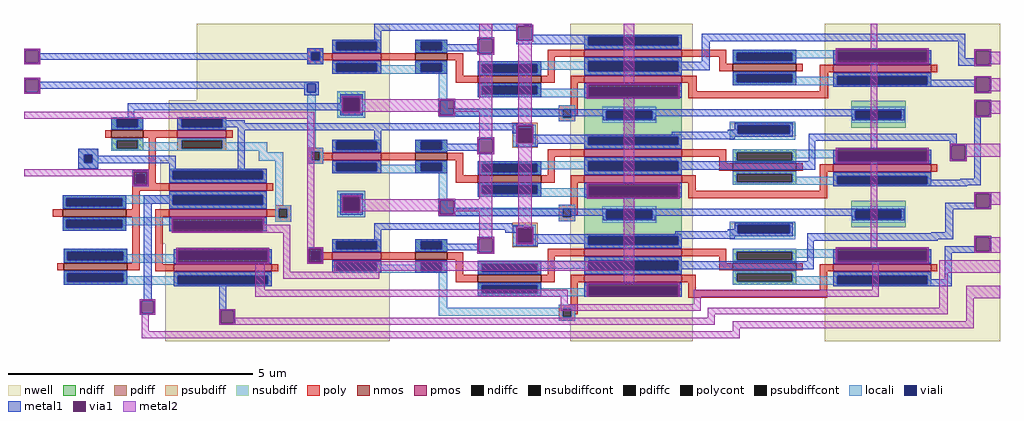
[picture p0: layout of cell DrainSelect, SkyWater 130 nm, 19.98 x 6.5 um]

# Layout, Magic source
magic
tech sky130A
<< nwell >>
rect -1645 493 -1250 650
rect -1703 371 -1250 493
rect -1720 200 -1250 371
rect -1710 0 -1250 200
rect -881 0 -630 650
rect -360 0 -1 650
<< nmos >>
rect -1198 575 -1133 590
rect -548 553 -418 568
rect -1070 529 -940 544
rect -1820 417 -1755 432
rect -1198 371 -1133 386
rect -548 349 -418 364
rect -1070 325 -940 340
rect -1920 255 -1790 270
rect -1918 145 -1788 160
rect -1198 167 -1133 182
rect -548 145 -418 160
rect -1070 121 -940 136
<< pmos >>
rect -1368 575 -1268 590
rect -852 582 -652 597
rect -852 529 -652 544
rect -342 551 -142 566
rect -1685 417 -1585 432
rect -1368 371 -1268 386
rect -852 378 -652 393
rect -852 325 -652 340
rect -1702 308 -1502 323
rect -1702 255 -1502 270
rect -342 347 -142 362
rect -1368 167 -1268 182
rect -1692 143 -1492 158
rect -852 174 -652 189
rect -852 121 -652 136
rect -342 143 -142 158
<< ndiff >>
rect -1198 613 -1133 617
rect -1198 596 -1187 613
rect -1144 596 -1133 613
rect -1198 590 -1133 596
rect -1198 569 -1133 575
rect -1198 552 -1187 569
rect -1144 552 -1133 569
rect -1198 548 -1133 552
rect -1070 567 -940 573
rect -1070 550 -1062 567
rect -948 550 -940 567
rect -1070 544 -940 550
rect -548 591 -418 597
rect -548 574 -540 591
rect -426 574 -418 591
rect -548 568 -418 574
rect -548 547 -418 553
rect -1070 523 -940 529
rect -1070 506 -1062 523
rect -948 506 -940 523
rect -1070 500 -940 506
rect -1820 455 -1755 459
rect -1820 438 -1809 455
rect -1766 438 -1755 455
rect -1820 432 -1755 438
rect -548 530 -540 547
rect -426 530 -418 547
rect -548 524 -418 530
rect -1820 411 -1755 417
rect -1820 394 -1809 411
rect -1766 394 -1755 411
rect -1820 390 -1755 394
rect -1198 409 -1133 413
rect -1198 392 -1187 409
rect -1144 392 -1133 409
rect -1198 386 -1133 392
rect -1198 365 -1133 371
rect -1198 348 -1187 365
rect -1144 348 -1133 365
rect -1198 344 -1133 348
rect -1070 363 -940 369
rect -1070 346 -1062 363
rect -948 346 -940 363
rect -1070 340 -940 346
rect -548 387 -418 393
rect -548 370 -540 387
rect -426 370 -418 387
rect -548 364 -418 370
rect -548 343 -418 349
rect -1070 319 -940 325
rect -1920 293 -1790 299
rect -1920 276 -1912 293
rect -1798 276 -1790 293
rect -1920 270 -1790 276
rect -1070 302 -1062 319
rect -948 302 -940 319
rect -1070 296 -940 302
rect -1920 249 -1790 255
rect -1920 232 -1912 249
rect -1798 232 -1790 249
rect -1920 226 -1790 232
rect -1918 183 -1788 189
rect -1918 166 -1910 183
rect -1796 166 -1788 183
rect -1918 160 -1788 166
rect -548 326 -540 343
rect -426 326 -418 343
rect -548 320 -418 326
rect -1198 205 -1133 209
rect -1198 188 -1187 205
rect -1144 188 -1133 205
rect -1198 182 -1133 188
rect -1918 139 -1788 145
rect -1918 122 -1910 139
rect -1796 122 -1788 139
rect -1918 116 -1788 122
rect -1198 161 -1133 167
rect -1198 144 -1187 161
rect -1144 144 -1133 161
rect -1198 140 -1133 144
rect -1070 159 -940 165
rect -1070 142 -1062 159
rect -948 142 -940 159
rect -1070 136 -940 142
rect -548 183 -418 189
rect -548 166 -540 183
rect -426 166 -418 183
rect -548 160 -418 166
rect -548 139 -418 145
rect -1070 115 -940 121
rect -1070 98 -1062 115
rect -948 98 -940 115
rect -1070 92 -940 98
rect -548 122 -540 139
rect -426 122 -418 139
rect -548 116 -418 122
<< pdiff >>
rect -852 623 -652 627
rect -1368 613 -1268 617
rect -1368 596 -1360 613
rect -1277 596 -1268 613
rect -1368 590 -1268 596
rect -852 606 -844 623
rect -660 606 -652 623
rect -852 597 -652 606
rect -1368 569 -1268 575
rect -1368 552 -1360 569
rect -1277 552 -1268 569
rect -1368 548 -1268 552
rect -852 573 -652 582
rect -852 553 -844 573
rect -660 553 -652 573
rect -342 592 -142 596
rect -342 575 -334 592
rect -150 575 -142 592
rect -342 566 -142 575
rect -852 544 -652 553
rect -1685 455 -1585 459
rect -852 520 -652 529
rect -852 503 -844 520
rect -660 503 -652 520
rect -852 499 -652 503
rect -342 542 -142 551
rect -342 525 -334 542
rect -150 525 -142 542
rect -342 521 -142 525
rect -1685 438 -1676 455
rect -1593 438 -1585 455
rect -1685 432 -1585 438
rect -1685 411 -1585 417
rect -1685 394 -1676 411
rect -1593 394 -1585 411
rect -1368 409 -1268 413
rect -1685 390 -1585 394
rect -1368 392 -1360 409
rect -1277 392 -1268 409
rect -1368 386 -1268 392
rect -852 419 -652 423
rect -852 402 -844 419
rect -660 402 -652 419
rect -852 393 -652 402
rect -1368 365 -1268 371
rect -1702 349 -1502 353
rect -1702 332 -1694 349
rect -1510 332 -1502 349
rect -1368 348 -1360 365
rect -1277 348 -1268 365
rect -1368 344 -1268 348
rect -1702 323 -1502 332
rect -852 369 -652 378
rect -852 349 -844 369
rect -660 349 -652 369
rect -342 388 -142 392
rect -342 371 -334 388
rect -150 371 -142 388
rect -342 362 -142 371
rect -852 340 -652 349
rect -1702 299 -1502 308
rect -1702 279 -1694 299
rect -1510 279 -1502 299
rect -1702 270 -1502 279
rect -1702 246 -1502 255
rect -1702 229 -1694 246
rect -1510 229 -1502 246
rect -852 316 -652 325
rect -852 299 -844 316
rect -660 299 -652 316
rect -852 295 -652 299
rect -342 338 -142 347
rect -342 321 -334 338
rect -150 321 -142 338
rect -342 317 -142 321
rect -1702 225 -1502 229
rect -1368 205 -1268 209
rect -1692 184 -1492 188
rect -1692 167 -1684 184
rect -1500 167 -1492 184
rect -1692 158 -1492 167
rect -1368 188 -1360 205
rect -1277 188 -1268 205
rect -1368 182 -1268 188
rect -852 215 -652 219
rect -852 198 -844 215
rect -660 198 -652 215
rect -852 189 -652 198
rect -1368 161 -1268 167
rect -1368 144 -1360 161
rect -1277 144 -1268 161
rect -1692 134 -1492 143
rect -1368 140 -1268 144
rect -1692 117 -1684 134
rect -1500 117 -1492 134
rect -852 165 -652 174
rect -852 145 -844 165
rect -660 145 -652 165
rect -342 184 -142 188
rect -342 167 -334 184
rect -150 167 -142 184
rect -342 158 -142 167
rect -852 136 -652 145
rect -1692 113 -1492 117
rect -852 112 -652 121
rect -852 95 -844 112
rect -660 95 -652 112
rect -852 91 -652 95
rect -342 134 -142 143
rect -342 117 -334 134
rect -150 117 -142 134
rect -342 113 -142 117
<< ndiffc >>
rect -1187 596 -1144 613
rect -1187 552 -1144 569
rect -1062 550 -948 567
rect -540 574 -426 591
rect -1062 506 -948 523
rect -1809 438 -1766 455
rect -540 530 -426 547
rect -1809 394 -1766 411
rect -1187 392 -1144 409
rect -1187 348 -1144 365
rect -1062 346 -948 363
rect -540 370 -426 387
rect -1912 276 -1798 293
rect -1062 302 -948 319
rect -1912 232 -1798 249
rect -1910 166 -1796 183
rect -540 326 -426 343
rect -1187 188 -1144 205
rect -1910 122 -1796 139
rect -1187 144 -1144 161
rect -1062 142 -948 159
rect -540 166 -426 183
rect -1062 98 -948 115
rect -540 122 -426 139
<< pdiffc >>
rect -1360 596 -1277 613
rect -844 606 -660 623
rect -1360 552 -1277 569
rect -844 553 -660 573
rect -334 575 -150 592
rect -844 503 -660 520
rect -334 525 -150 542
rect -1676 438 -1593 455
rect -1676 394 -1593 411
rect -1360 392 -1277 409
rect -844 402 -660 419
rect -1694 332 -1510 349
rect -1360 348 -1277 365
rect -844 349 -660 369
rect -334 371 -150 388
rect -1694 279 -1510 299
rect -1694 229 -1510 246
rect -844 299 -660 316
rect -334 321 -150 338
rect -1684 167 -1500 184
rect -1360 188 -1277 205
rect -844 198 -660 215
rect -1360 144 -1277 161
rect -1684 117 -1500 134
rect -844 145 -660 165
rect -334 167 -150 184
rect -844 95 -660 112
rect -334 117 -150 134
<< psubdiff >>
rect -1000 435 -947 447
rect -1888 382 -1847 394
rect -1888 365 -1876 382
rect -1859 365 -1847 382
rect -1888 353 -1847 365
rect -1000 406 -988 435
rect -959 406 -947 435
rect -1000 396 -947 406
rect -554 442 -419 446
rect -554 425 -538 442
rect -431 425 -419 442
rect -554 420 -419 425
rect -1000 231 -947 243
rect -1000 202 -988 231
rect -959 202 -947 231
rect -1000 192 -947 202
rect -554 238 -419 242
rect -554 221 -538 238
rect -431 221 -419 238
rect -554 216 -419 221
<< nsubdiff >>
rect -1358 500 -1300 512
rect -1358 470 -1346 500
rect -1312 470 -1300 500
rect -1358 458 -1300 470
rect -852 472 -652 499
rect -852 455 -807 472
rect -713 455 -652 472
rect -852 423 -652 455
rect -305 472 -194 492
rect -305 455 -297 472
rect -203 455 -194 472
rect -305 437 -194 455
rect -1358 296 -1300 308
rect -1358 266 -1346 296
rect -1312 266 -1300 296
rect -1358 254 -1300 266
rect -852 268 -652 295
rect -852 251 -807 268
rect -713 251 -652 268
rect -852 219 -652 251
rect -305 268 -194 288
rect -305 251 -297 268
rect -203 251 -194 268
rect -305 233 -194 251
<< psubdiffcont >>
rect -1876 365 -1859 382
rect -988 406 -959 435
rect -538 425 -431 442
rect -988 202 -959 231
rect -538 221 -431 238
<< nsubdiffcont >>
rect -1346 470 -1312 500
rect -807 455 -713 472
rect -297 455 -203 472
rect -1346 266 -1312 296
rect -807 251 -713 268
rect -297 251 -203 268
<< poly >>
rect -1419 592 -1386 600
rect -1419 575 -1411 592
rect -1394 590 -1386 592
rect -1394 575 -1368 590
rect -1268 575 -1198 590
rect -1133 575 -1100 590
rect -1419 567 -1386 575
rect -1115 544 -1100 575
rect -927 582 -852 597
rect -652 582 -561 597
rect -927 544 -912 582
rect -576 568 -561 582
rect -576 553 -548 568
rect -418 553 -405 568
rect -1115 529 -1070 544
rect -940 529 -912 544
rect -880 529 -852 544
rect -652 529 -622 544
rect -880 483 -865 529
rect -904 475 -865 483
rect -904 458 -896 475
rect -879 463 -865 475
rect -639 512 -622 529
rect -370 551 -342 566
rect -142 551 -129 566
rect -370 512 -353 551
rect -639 497 -353 512
rect -879 458 -871 463
rect -904 450 -871 458
rect -1833 417 -1820 432
rect -1755 417 -1685 432
rect -1585 417 -1572 432
rect -1744 350 -1729 417
rect -1419 388 -1386 396
rect -1419 371 -1411 388
rect -1394 386 -1386 388
rect -1394 371 -1368 386
rect -1268 371 -1198 386
rect -1133 371 -1100 386
rect -1419 363 -1386 371
rect -1777 342 -1729 350
rect -1777 325 -1769 342
rect -1752 325 -1729 342
rect -1777 323 -1729 325
rect -1115 340 -1100 371
rect -927 378 -852 393
rect -652 378 -561 393
rect -927 340 -912 378
rect -576 364 -561 378
rect -576 349 -548 364
rect -418 349 -405 364
rect -1115 325 -1070 340
rect -940 325 -912 340
rect -880 325 -852 340
rect -652 325 -624 340
rect -1777 308 -1702 323
rect -1502 308 -1489 323
rect -1777 270 -1762 308
rect -1485 271 -1452 278
rect -1485 270 -1477 271
rect -1940 255 -1920 270
rect -1790 255 -1762 270
rect -1777 160 -1762 255
rect -1931 145 -1918 160
rect -1788 145 -1762 160
rect -1730 255 -1702 270
rect -1502 255 -1477 270
rect -1730 158 -1715 255
rect -1485 253 -1477 255
rect -1460 253 -1452 271
rect -880 279 -865 325
rect -904 271 -865 279
rect -904 254 -896 271
rect -879 259 -865 271
rect -639 308 -624 325
rect -370 347 -342 362
rect -142 347 -129 362
rect -370 308 -355 347
rect -639 293 -355 308
rect -879 254 -871 259
rect -1485 245 -1452 253
rect -904 246 -871 254
rect -1419 184 -1386 192
rect -1419 167 -1411 184
rect -1394 182 -1386 184
rect -1394 167 -1368 182
rect -1268 167 -1198 182
rect -1133 167 -1100 182
rect -1419 159 -1386 167
rect -1730 143 -1692 158
rect -1492 143 -1479 158
rect -1115 136 -1100 167
rect -927 174 -852 189
rect -652 174 -561 189
rect -927 136 -912 174
rect -576 160 -561 174
rect -576 145 -548 160
rect -418 145 -405 160
rect -1115 121 -1070 136
rect -940 121 -912 136
rect -880 121 -852 136
rect -652 121 -624 136
rect -880 75 -865 121
rect -639 104 -624 121
rect -370 143 -342 158
rect -142 143 -129 158
rect -370 104 -355 143
rect -639 89 -355 104
rect -904 67 -865 75
rect -904 50 -896 67
rect -879 55 -865 67
rect -879 50 -871 55
rect -904 42 -871 50
<< polycont >>
rect -1411 575 -1394 592
rect -896 458 -879 475
rect -1411 371 -1394 388
rect -1769 325 -1752 342
rect -1477 253 -1460 271
rect -896 254 -879 271
rect -1411 167 -1394 184
rect -896 50 -879 67
<< locali >>
rect -852 623 -652 627
rect -1368 613 -1268 617
rect -1419 592 -1386 600
rect -1419 575 -1411 592
rect -1394 575 -1386 592
rect -1368 596 -1360 613
rect -1277 596 -1268 613
rect -1368 591 -1268 596
rect -1198 613 -1133 617
rect -1198 596 -1187 613
rect -1144 596 -1133 613
rect -852 606 -844 623
rect -660 606 -652 623
rect -852 598 -652 606
rect -1198 591 -1133 596
rect -548 596 -418 597
rect -548 592 -142 596
rect -548 591 -334 592
rect -1419 567 -1386 575
rect -1368 569 -1268 574
rect -1368 552 -1360 569
rect -1277 565 -1268 569
rect -1198 569 -1133 574
rect -852 573 -652 581
rect -1198 565 -1187 569
rect -1277 552 -1187 565
rect -1144 552 -1133 569
rect -1368 548 -1133 552
rect -1425 527 -1396 531
rect -1425 510 -1419 527
rect -1402 510 -1396 527
rect -1425 504 -1396 510
rect -1820 455 -1755 459
rect -1820 438 -1809 455
rect -1766 438 -1755 455
rect -1820 433 -1755 438
rect -1685 455 -1585 459
rect -1685 438 -1676 455
rect -1593 438 -1585 455
rect -1685 433 -1585 438
rect -1820 411 -1755 416
rect -1820 394 -1809 411
rect -1766 407 -1755 411
rect -1685 411 -1585 416
rect -1685 407 -1676 411
rect -1766 394 -1676 407
rect -1593 407 -1585 411
rect -1593 394 -1501 407
rect -1888 382 -1847 394
rect -1820 390 -1501 394
rect -1888 365 -1876 382
rect -1859 365 -1847 382
rect -1518 387 -1501 390
rect -1419 396 -1402 504
rect -1358 500 -1300 512
rect -1358 470 -1346 500
rect -1312 470 -1300 500
rect -1358 458 -1300 470
rect -1150 477 -1133 548
rect -1070 567 -844 573
rect -1070 550 -1062 567
rect -948 556 -844 567
rect -948 550 -940 556
rect -1070 545 -940 550
rect -852 553 -844 556
rect -660 553 -652 573
rect -548 574 -540 591
rect -426 579 -334 591
rect -426 574 -418 579
rect -548 569 -418 574
rect -342 575 -334 579
rect -150 575 -142 592
rect -342 567 -142 575
rect -852 545 -652 553
rect -548 547 -418 552
rect -548 530 -540 547
rect -426 541 -418 547
rect -342 542 -142 550
rect -342 541 -334 542
rect -426 530 -334 541
rect -1070 523 -940 528
rect -1070 506 -1062 523
rect -948 517 -940 523
rect -852 520 -652 528
rect -548 525 -334 530
rect -150 525 -142 542
rect -548 524 -142 525
rect -342 521 -142 524
rect -852 517 -844 520
rect -948 506 -844 517
rect -1070 503 -844 506
rect -660 503 -652 520
rect -1070 500 -652 503
rect -852 499 -652 500
rect -904 477 -871 483
rect -1150 475 -871 477
rect -1150 460 -896 475
rect -904 458 -896 460
rect -879 458 -871 475
rect -904 450 -871 458
rect -815 472 -705 480
rect -815 455 -807 472
rect -713 455 -705 472
rect -815 447 -705 455
rect -305 472 -195 480
rect -305 455 -297 472
rect -203 455 -195 472
rect -997 435 -951 443
rect -1368 409 -1268 413
rect -1419 388 -1386 396
rect -1518 370 -1468 387
rect -1888 353 -1847 365
rect -1777 342 -1744 350
rect -1777 325 -1769 342
rect -1752 325 -1744 342
rect -1777 317 -1744 325
rect -1702 349 -1502 353
rect -1702 332 -1694 349
rect -1510 332 -1502 349
rect -1702 324 -1502 332
rect -1702 299 -1502 307
rect -1920 293 -1694 299
rect -1920 276 -1912 293
rect -1798 282 -1694 293
rect -1798 276 -1790 282
rect -1920 271 -1790 276
rect -1702 279 -1694 282
rect -1510 279 -1502 299
rect -1702 271 -1502 279
rect -1485 278 -1468 370
rect -1419 371 -1411 388
rect -1394 371 -1386 388
rect -1368 392 -1360 409
rect -1277 392 -1268 409
rect -1368 387 -1268 392
rect -1198 409 -1133 413
rect -1198 392 -1187 409
rect -1144 392 -1133 409
rect -997 406 -988 435
rect -959 406 -951 435
rect -554 442 -420 449
rect -305 447 -195 455
rect -554 425 -538 442
rect -431 425 -420 442
rect -997 398 -951 406
rect -852 419 -652 423
rect -852 402 -844 419
rect -660 402 -652 419
rect -554 413 -420 425
rect -852 394 -652 402
rect -1198 387 -1133 392
rect -548 392 -418 393
rect -548 388 -142 392
rect -548 387 -334 388
rect -1419 363 -1386 371
rect -1368 365 -1268 370
rect -1368 348 -1360 365
rect -1277 361 -1268 365
rect -1198 365 -1133 370
rect -852 369 -652 377
rect -1198 361 -1187 365
rect -1277 348 -1187 361
rect -1144 348 -1133 365
rect -1368 344 -1133 348
rect -1358 296 -1300 308
rect -1485 271 -1452 278
rect -1920 249 -1502 254
rect -1920 232 -1912 249
rect -1798 246 -1502 249
rect -1798 237 -1694 246
rect -1798 232 -1790 237
rect -1920 226 -1790 232
rect -1702 229 -1694 237
rect -1510 229 -1502 246
rect -1485 253 -1477 271
rect -1460 253 -1452 271
rect -1358 266 -1346 296
rect -1312 266 -1300 296
rect -1358 254 -1300 266
rect -1150 273 -1133 344
rect -1070 363 -844 369
rect -1070 346 -1062 363
rect -948 352 -844 363
rect -948 346 -940 352
rect -1070 341 -940 346
rect -852 349 -844 352
rect -660 349 -652 369
rect -548 370 -540 387
rect -426 375 -334 387
rect -426 370 -418 375
rect -548 365 -418 370
rect -342 371 -334 375
rect -150 371 -142 388
rect -342 363 -142 371
rect -852 341 -652 349
rect -548 343 -418 348
rect -548 326 -540 343
rect -426 337 -418 343
rect -342 338 -142 346
rect -342 337 -334 338
rect -426 326 -334 337
rect -1070 319 -940 324
rect -1070 302 -1062 319
rect -948 313 -940 319
rect -852 316 -652 324
rect -548 321 -334 326
rect -150 321 -142 338
rect -548 320 -142 321
rect -342 317 -142 320
rect -852 313 -844 316
rect -948 302 -844 313
rect -1070 299 -844 302
rect -660 299 -652 316
rect -1070 296 -652 299
rect -852 295 -652 296
rect -904 273 -871 279
rect -1150 271 -871 273
rect -1150 256 -896 271
rect -904 254 -896 256
rect -879 254 -871 271
rect -1485 245 -1452 253
rect -904 246 -871 254
rect -815 268 -705 276
rect -815 251 -807 268
rect -713 251 -705 268
rect -815 243 -705 251
rect -305 268 -195 276
rect -305 251 -297 268
rect -203 251 -195 268
rect -1702 225 -1502 229
rect -997 231 -951 239
rect -1368 205 -1268 209
rect -1918 183 -1788 189
rect -1918 166 -1910 183
rect -1796 178 -1788 183
rect -1692 184 -1492 188
rect -1692 178 -1684 184
rect -1796 167 -1684 178
rect -1500 167 -1492 184
rect -1796 166 -1492 167
rect -1918 161 -1492 166
rect -1692 159 -1492 161
rect -1419 184 -1386 192
rect -1419 167 -1411 184
rect -1394 167 -1386 184
rect -1368 188 -1360 205
rect -1277 188 -1268 205
rect -1368 183 -1268 188
rect -1198 205 -1133 209
rect -1198 188 -1187 205
rect -1144 188 -1133 205
rect -997 202 -988 231
rect -959 202 -951 231
rect -554 238 -420 245
rect -305 243 -195 251
rect -554 221 -538 238
rect -431 221 -420 238
rect -997 194 -951 202
rect -852 215 -652 219
rect -852 198 -844 215
rect -660 198 -652 215
rect -554 209 -420 221
rect -852 190 -652 198
rect -1198 183 -1133 188
rect -548 188 -418 189
rect -548 184 -142 188
rect -548 183 -334 184
rect -1419 159 -1386 167
rect -1368 161 -1268 166
rect -1368 144 -1360 161
rect -1277 157 -1268 161
rect -1198 161 -1133 166
rect -852 165 -652 173
rect -1198 157 -1187 161
rect -1277 144 -1187 157
rect -1144 144 -1133 161
rect -1918 139 -1788 144
rect -1918 122 -1910 139
rect -1796 133 -1788 139
rect -1692 134 -1492 142
rect -1368 140 -1133 144
rect -1692 133 -1684 134
rect -1796 122 -1684 133
rect -1918 117 -1684 122
rect -1500 117 -1492 134
rect -1918 116 -1492 117
rect -1692 113 -1492 116
rect -1150 69 -1133 140
rect -1070 159 -844 165
rect -1070 142 -1062 159
rect -948 148 -844 159
rect -948 142 -940 148
rect -1070 137 -940 142
rect -852 145 -844 148
rect -660 145 -652 165
rect -548 166 -540 183
rect -426 171 -334 183
rect -426 166 -418 171
rect -548 161 -418 166
rect -342 167 -334 171
rect -150 167 -142 184
rect -342 159 -142 167
rect -852 137 -652 145
rect -548 139 -418 144
rect -548 122 -540 139
rect -426 133 -418 139
rect -342 134 -142 142
rect -342 133 -334 134
rect -426 122 -334 133
rect -1070 115 -940 120
rect -1070 98 -1062 115
rect -948 109 -940 115
rect -852 112 -652 120
rect -548 117 -334 122
rect -150 117 -142 134
rect -548 116 -142 117
rect -342 113 -142 116
rect -852 109 -844 112
rect -948 98 -844 109
rect -1070 95 -844 98
rect -660 95 -652 112
rect -1070 92 -652 95
rect -852 91 -652 92
rect -904 69 -871 75
rect -1150 67 -871 69
rect -1150 52 -896 67
rect -904 50 -896 52
rect -879 50 -871 67
rect -904 42 -871 50
<< viali >>
rect -1411 575 -1394 592
rect -1360 596 -1277 613
rect -1187 596 -1144 613
rect -844 606 -660 623
rect -1360 552 -1277 569
rect -1187 552 -1144 569
rect -1419 510 -1402 527
rect -1809 438 -1766 455
rect -1676 438 -1593 455
rect -1876 365 -1859 382
rect -1346 470 -1312 500
rect -1062 550 -948 567
rect -844 553 -660 573
rect -540 574 -426 591
rect -334 575 -150 592
rect -540 530 -426 547
rect -1062 506 -948 523
rect -334 525 -150 542
rect -844 503 -660 520
rect -807 455 -713 472
rect -297 455 -203 472
rect -1769 325 -1752 342
rect -1694 332 -1510 349
rect -1912 276 -1798 293
rect -1694 279 -1510 299
rect -1360 392 -1277 409
rect -1187 392 -1144 409
rect -538 425 -431 442
rect -844 402 -660 419
rect -1360 348 -1277 365
rect -1187 348 -1144 365
rect -1912 232 -1798 249
rect -1694 229 -1510 246
rect -1346 266 -1312 296
rect -1062 346 -948 363
rect -844 349 -660 369
rect -334 371 -150 388
rect -1062 302 -948 319
rect -334 321 -150 338
rect -844 299 -660 316
rect -807 251 -713 268
rect -297 251 -203 268
rect -1910 166 -1796 183
rect -1684 167 -1500 184
rect -1411 167 -1394 184
rect -1360 188 -1277 205
rect -1187 188 -1144 205
rect -538 221 -431 238
rect -844 198 -660 215
rect -1360 144 -1277 161
rect -1187 144 -1144 161
rect -1910 122 -1796 139
rect -1684 117 -1500 134
rect -1062 142 -948 159
rect -844 145 -660 165
rect -334 167 -150 184
rect -1062 98 -948 115
rect -334 117 -150 134
rect -844 95 -660 112
<< metal1 >>
rect -1282 648 -977 650
rect -1282 645 -956 648
rect -1282 636 -988 645
rect -1282 617 -1268 636
rect -1071 619 -1036 622
rect -1368 613 -1268 617
rect -1999 596 -1966 599
rect -1999 570 -1996 596
rect -1969 590 -1966 596
rect -1419 592 -1386 600
rect -1419 590 -1411 592
rect -1969 576 -1411 590
rect -1969 570 -1966 576
rect -1999 567 -1966 570
rect -1419 575 -1411 576
rect -1394 575 -1386 592
rect -1368 596 -1360 613
rect -1277 596 -1268 613
rect -1368 591 -1268 596
rect -1198 613 -1133 617
rect -1198 596 -1187 613
rect -1144 608 -1133 613
rect -1071 608 -1068 619
rect -1144 596 -1068 608
rect -1198 594 -1068 596
rect -1198 591 -1133 594
rect -1071 590 -1068 594
rect -1039 590 -1036 619
rect -991 616 -988 636
rect -959 627 -956 645
rect -959 623 -652 627
rect -959 616 -844 623
rect -991 608 -844 616
rect -852 606 -844 608
rect -660 606 -652 623
rect -852 598 -652 606
rect -612 614 -72 629
rect -1071 587 -1036 590
rect -1419 567 -1386 575
rect -1368 569 -1268 574
rect -1368 552 -1360 569
rect -1277 552 -1268 569
rect -1368 548 -1268 552
rect -1198 569 -1133 574
rect -852 573 -652 581
rect -1198 552 -1187 569
rect -1144 552 -1133 569
rect -1198 548 -1133 552
rect -1070 567 -940 573
rect -1070 550 -1062 567
rect -948 550 -940 567
rect -1070 545 -940 550
rect -852 553 -844 573
rect -660 572 -652 573
rect -612 572 -595 614
rect -337 597 -147 600
rect -660 555 -595 572
rect -548 591 -418 597
rect -337 596 -334 597
rect -548 574 -540 591
rect -426 574 -418 591
rect -548 569 -418 574
rect -342 571 -334 596
rect -150 596 -147 597
rect -150 571 -142 596
rect -342 567 -142 571
rect -86 579 -72 614
rect -54 595 -19 598
rect -54 579 -51 595
rect -86 566 -51 579
rect -22 566 -19 595
rect -86 564 -19 566
rect -54 563 -19 564
rect -660 553 -652 555
rect -852 545 -652 553
rect -548 547 -418 552
rect -1999 536 -1966 539
rect -1999 510 -1996 536
rect -1969 531 -1966 536
rect -1969 527 -1396 531
rect -548 530 -540 547
rect -426 530 -418 547
rect -1969 517 -1419 527
rect -1969 510 -1966 517
rect -1999 507 -1966 510
rect -1425 510 -1419 517
rect -1402 510 -1396 527
rect -1425 504 -1396 510
rect -1070 523 -940 528
rect -1070 506 -1062 523
rect -948 506 -940 523
rect -1352 500 -1306 506
rect -1070 500 -940 506
rect -852 525 -652 528
rect -1352 487 -1346 500
rect -1787 473 -1346 487
rect -1787 459 -1773 473
rect -1352 470 -1346 473
rect -1312 470 -1306 500
rect -852 499 -844 525
rect -660 499 -652 525
rect -548 524 -418 530
rect -342 542 -142 550
rect -342 525 -334 542
rect -150 535 -142 542
rect -54 540 -19 543
rect -54 535 -51 540
rect -150 525 -51 535
rect -342 521 -51 525
rect -54 511 -51 521
rect -22 511 -19 540
rect -54 508 -19 511
rect -847 496 -657 499
rect -1352 463 -1306 470
rect -1151 493 -1116 496
rect -1151 464 -1148 493
rect -1119 475 -1116 493
rect -54 491 -19 494
rect -1119 472 -197 475
rect -1119 464 -807 472
rect -1151 461 -807 464
rect -1820 455 -1755 459
rect -1820 438 -1809 455
rect -1766 438 -1755 455
rect -1820 433 -1755 438
rect -1685 455 -1585 459
rect -1685 438 -1676 455
rect -1593 452 -1585 455
rect -813 455 -807 461
rect -713 461 -297 472
rect -713 455 -707 461
rect -813 452 -707 455
rect -303 455 -297 461
rect -203 455 -197 472
rect -303 452 -197 455
rect -54 462 -51 491
rect -22 462 -19 491
rect -54 459 -19 462
rect -1593 446 -1547 452
rect -1593 444 -977 446
rect -1593 441 -956 444
rect -1593 438 -988 441
rect -1685 433 -1585 438
rect -1561 432 -988 438
rect -1888 382 -1847 394
rect -1888 365 -1876 382
rect -1859 380 -1847 382
rect -1859 365 -1688 380
rect -1888 364 -1688 365
rect -1888 353 -1847 364
rect -1702 353 -1688 364
rect -1561 353 -1547 432
rect -1282 413 -1268 432
rect -1000 426 -988 432
rect -1071 415 -1036 418
rect -1368 409 -1268 413
rect -1368 392 -1360 409
rect -1277 392 -1268 409
rect -1368 387 -1268 392
rect -1198 409 -1133 413
rect -1198 392 -1187 409
rect -1144 404 -1133 409
rect -1071 404 -1068 415
rect -1144 392 -1068 404
rect -1198 390 -1068 392
rect -1198 387 -1133 390
rect -1071 386 -1068 390
rect -1039 386 -1036 415
rect -991 406 -988 426
rect -959 423 -956 441
rect -544 442 -425 447
rect -544 433 -538 442
rect -558 429 -538 433
rect -673 425 -538 429
rect -431 425 -425 442
rect -673 423 -425 425
rect -959 419 -425 423
rect -959 406 -844 419
rect -991 404 -844 406
rect -991 398 -947 404
rect -852 402 -844 404
rect -660 414 -544 419
rect -660 402 -652 414
rect -852 394 -652 402
rect -393 410 -90 425
rect -1071 383 -1036 386
rect -1368 365 -1268 370
rect -1777 347 -1744 350
rect -1777 320 -1774 347
rect -1747 320 -1744 347
rect -1702 349 -1502 353
rect -1702 332 -1694 349
rect -1510 332 -1502 349
rect -1368 348 -1360 365
rect -1277 348 -1268 365
rect -1368 344 -1268 348
rect -1198 365 -1133 370
rect -852 369 -652 377
rect -1198 348 -1187 365
rect -1144 348 -1133 365
rect -1198 344 -1133 348
rect -1070 363 -940 369
rect -1070 346 -1062 363
rect -948 346 -940 363
rect -1070 341 -940 346
rect -852 349 -844 369
rect -660 368 -652 369
rect -393 368 -379 410
rect -104 404 -90 410
rect -104 401 -69 404
rect -337 393 -147 396
rect -337 392 -334 393
rect -660 351 -379 368
rect -342 367 -334 392
rect -150 392 -147 393
rect -150 367 -142 392
rect -104 372 -101 401
rect -72 372 -69 401
rect -104 369 -69 372
rect -342 363 -142 367
rect -660 349 -652 351
rect -852 341 -652 349
rect -1702 324 -1502 332
rect -342 338 -142 346
rect -1777 317 -1744 320
rect -1070 319 -940 324
rect -1702 299 -1502 307
rect -1070 302 -1062 319
rect -948 302 -940 319
rect -1920 293 -1790 299
rect -1920 276 -1912 293
rect -1798 276 -1790 293
rect -1920 271 -1790 276
rect -1754 282 -1694 299
rect -1920 249 -1790 254
rect -1920 232 -1912 249
rect -1798 232 -1790 249
rect -1920 226 -1790 232
rect -1918 183 -1788 189
rect -1918 166 -1910 183
rect -1796 166 -1788 183
rect -1918 161 -1788 166
rect -1918 139 -1788 144
rect -1918 122 -1910 139
rect -1796 122 -1788 139
rect -1918 116 -1788 122
rect -1754 86 -1737 282
rect -1702 279 -1694 282
rect -1510 279 -1502 299
rect -1702 271 -1502 279
rect -1352 296 -1306 302
rect -1070 296 -940 302
rect -852 321 -652 324
rect -1352 266 -1346 296
rect -1312 266 -1306 296
rect -852 295 -844 321
rect -660 295 -652 321
rect -342 321 -334 338
rect -150 331 -142 338
rect -54 333 -40 459
rect -82 331 -40 333
rect -150 321 -40 331
rect -342 319 -40 321
rect -342 317 -68 319
rect -54 302 -19 305
rect -847 292 -657 295
rect -1352 259 -1306 266
rect -1151 289 -1116 292
rect -1151 260 -1148 289
rect -1119 271 -1116 289
rect -54 284 -51 302
rect -113 273 -51 284
rect -22 273 -19 302
rect -1119 268 -197 271
rect -1119 260 -807 268
rect -1151 257 -807 260
rect -1702 251 -1502 254
rect -1702 225 -1694 251
rect -1510 225 -1502 251
rect -813 251 -807 257
rect -713 257 -297 268
rect -713 251 -707 257
rect -813 248 -707 251
rect -303 251 -297 257
rect -203 251 -197 268
rect -303 248 -197 251
rect -113 270 -19 273
rect -1282 236 -1000 242
rect -544 238 -425 243
rect -1282 234 -977 236
rect -1282 231 -956 234
rect -1282 228 -988 231
rect -1282 209 -1268 228
rect -1014 222 -988 228
rect -1071 211 -1036 214
rect -1368 205 -1268 209
rect -1419 189 -1386 192
rect -1692 162 -1684 188
rect -1500 162 -1492 188
rect -1692 159 -1492 162
rect -1419 162 -1416 189
rect -1389 162 -1386 189
rect -1368 188 -1360 205
rect -1277 188 -1268 205
rect -1368 183 -1268 188
rect -1198 205 -1133 209
rect -1198 188 -1187 205
rect -1144 200 -1133 205
rect -1071 200 -1068 211
rect -1144 188 -1068 200
rect -1198 186 -1068 188
rect -1198 183 -1133 186
rect -1071 182 -1068 186
rect -1039 182 -1036 211
rect -991 202 -988 222
rect -959 219 -956 231
rect -544 229 -538 238
rect -558 225 -538 229
rect -666 221 -538 225
rect -431 221 -425 238
rect -113 223 -97 270
rect -142 221 -97 223
rect -666 219 -425 221
rect -959 215 -425 219
rect -959 202 -844 215
rect -991 200 -844 202
rect -991 194 -947 200
rect -852 198 -844 200
rect -660 210 -544 215
rect -660 198 -652 210
rect -852 190 -652 198
rect -396 209 -97 221
rect -54 213 -19 216
rect -396 206 -128 209
rect -1071 179 -1036 182
rect -1419 159 -1386 162
rect -1368 161 -1268 166
rect -1368 144 -1360 161
rect -1277 144 -1268 161
rect -1692 134 -1492 142
rect -1368 140 -1268 144
rect -1198 161 -1133 166
rect -852 165 -652 173
rect -1198 144 -1187 161
rect -1144 144 -1133 161
rect -1198 140 -1133 144
rect -1070 159 -940 165
rect -1070 142 -1062 159
rect -948 142 -940 159
rect -1070 137 -940 142
rect -852 145 -844 165
rect -660 164 -652 165
rect -396 164 -382 206
rect -54 195 -51 213
rect -337 189 -147 192
rect -337 188 -334 189
rect -660 147 -382 164
rect -342 163 -334 188
rect -150 188 -147 189
rect -150 163 -142 188
rect -342 159 -142 163
rect -114 184 -51 195
rect -22 184 -19 213
rect -114 181 -19 184
rect -660 145 -652 147
rect -852 137 -652 145
rect -1692 117 -1684 134
rect -1500 117 -1492 134
rect -342 134 -142 142
rect -1692 113 -1492 117
rect -1070 115 -940 120
rect -1762 83 -1730 86
rect -1762 57 -1759 83
rect -1733 57 -1730 83
rect -1762 54 -1730 57
rect -1599 66 -1585 113
rect -1070 98 -1062 115
rect -948 98 -940 115
rect -1070 92 -940 98
rect -852 117 -652 120
rect -852 91 -844 117
rect -660 91 -652 117
rect -342 117 -334 134
rect -150 127 -142 134
rect -114 127 -100 181
rect -150 117 -100 127
rect -342 113 -100 117
rect -1599 63 -1567 66
rect -1599 37 -1596 63
rect -1570 37 -1567 63
rect -1599 34 -1567 37
<< via1 >>
rect -1996 570 -1969 596
rect -1068 590 -1039 619
rect -988 616 -959 645
rect -334 592 -150 597
rect -334 575 -150 592
rect -334 571 -150 575
rect -51 566 -22 595
rect -1996 510 -1969 536
rect -1346 470 -1312 500
rect -844 520 -660 525
rect -844 503 -660 520
rect -844 499 -660 503
rect -51 511 -22 540
rect -1148 464 -1119 493
rect -51 462 -22 491
rect -1068 386 -1039 415
rect -988 406 -959 441
rect -1774 342 -1747 347
rect -1774 325 -1769 342
rect -1769 325 -1752 342
rect -1752 325 -1747 342
rect -1774 320 -1747 325
rect -334 388 -150 393
rect -334 371 -150 388
rect -334 367 -150 371
rect -101 372 -72 401
rect -1346 266 -1312 296
rect -844 316 -660 321
rect -844 299 -660 316
rect -844 295 -660 299
rect -1148 260 -1119 289
rect -51 273 -22 302
rect -1694 246 -1510 251
rect -1694 229 -1510 246
rect -1694 225 -1510 229
rect -1684 184 -1500 188
rect -1684 167 -1500 184
rect -1684 162 -1500 167
rect -1416 184 -1389 189
rect -1416 167 -1411 184
rect -1411 167 -1394 184
rect -1394 167 -1389 184
rect -1416 162 -1389 167
rect -1068 182 -1039 211
rect -988 202 -959 231
rect -334 184 -150 189
rect -334 167 -150 184
rect -334 163 -150 167
rect -51 184 -22 213
rect -1759 57 -1733 83
rect -844 112 -660 117
rect -844 95 -660 112
rect -844 91 -660 95
rect -1596 37 -1570 63
<< metal2 >>
rect -1067 622 -1040 650
rect -987 648 -960 650
rect -991 645 -956 648
rect -1071 619 -1036 622
rect -1999 596 -1966 599
rect -1999 570 -1996 596
rect -1969 570 -1966 596
rect -1071 590 -1068 619
rect -1039 590 -1036 619
rect -991 616 -988 645
rect -959 616 -956 645
rect -991 613 -956 616
rect -1071 587 -1036 590
rect -1999 567 -1966 570
rect -1999 536 -1966 539
rect -1999 510 -1996 536
rect -1969 510 -1966 536
rect -1999 507 -1966 510
rect -1349 500 -1309 503
rect -1349 470 -1346 500
rect -1312 495 -1309 500
rect -1151 495 -1116 496
rect -1067 495 -1040 587
rect -1312 493 -1040 495
rect -1312 470 -1148 493
rect -1999 455 -1405 470
rect -1349 467 -1309 470
rect -1151 464 -1148 470
rect -1119 470 -1040 493
rect -1119 464 -1116 470
rect -1151 461 -1116 464
rect -1999 347 -1744 352
rect -1999 338 -1774 347
rect -1777 320 -1774 338
rect -1747 320 -1744 347
rect -1777 317 -1744 320
rect -1697 251 -1507 254
rect -1697 225 -1694 251
rect -1510 238 -1507 251
rect -1510 225 -1454 238
rect -1697 222 -1454 225
rect -1687 188 -1497 191
rect -1687 162 -1684 188
rect -1500 162 -1497 188
rect -1687 159 -1497 162
rect -1526 105 -1506 159
rect -1468 142 -1454 222
rect -1419 192 -1405 455
rect -1067 418 -1040 470
rect -987 444 -960 613
rect -771 528 -750 650
rect -266 600 -252 650
rect -337 597 -147 600
rect -337 571 -334 597
rect -150 571 -147 597
rect -337 568 -147 571
rect -54 595 -19 598
rect -847 525 -657 528
rect -847 499 -844 525
rect -660 499 -657 525
rect -847 496 -657 499
rect -991 441 -956 444
rect -1071 415 -1036 418
rect -1071 386 -1068 415
rect -1039 386 -1036 415
rect -991 406 -988 441
rect -959 406 -956 441
rect -991 403 -956 406
rect -1071 383 -1036 386
rect -1349 296 -1309 299
rect -1349 266 -1346 296
rect -1312 291 -1309 296
rect -1151 291 -1116 292
rect -1067 291 -1040 383
rect -1312 289 -1040 291
rect -1312 266 -1148 289
rect -1349 263 -1309 266
rect -1151 260 -1148 266
rect -1119 266 -1040 289
rect -1119 260 -1116 266
rect -1151 257 -1116 260
rect -1067 214 -1040 266
rect -987 234 -960 403
rect -771 324 -750 496
rect -266 396 -252 568
rect -54 566 -51 595
rect -22 593 -19 595
rect -22 567 -1 593
rect -22 566 -19 567
rect -54 563 -19 566
rect -54 540 -19 543
rect -54 511 -51 540
rect -22 538 -19 540
rect -22 512 -1 538
rect -22 511 -19 512
rect -54 508 -19 511
rect -54 492 -19 494
rect -54 491 -1 492
rect -54 462 -51 491
rect -22 466 -1 491
rect -22 462 -19 466
rect -54 459 -19 462
rect -104 401 -1 404
rect -337 393 -147 396
rect -337 367 -334 393
rect -150 367 -147 393
rect -104 372 -101 401
rect -72 378 -1 401
rect -72 372 -69 378
rect -104 369 -69 372
rect -337 364 -147 367
rect -847 321 -657 324
rect -847 295 -844 321
rect -660 295 -657 321
rect -847 292 -657 295
rect -991 231 -956 234
rect -1071 211 -1036 214
rect -1419 189 -1386 192
rect -1419 162 -1416 189
rect -1389 162 -1386 189
rect -1071 182 -1068 211
rect -1039 182 -1036 211
rect -991 202 -988 231
rect -959 202 -956 231
rect -991 199 -956 202
rect -1071 179 -1036 182
rect -771 164 -750 292
rect -266 192 -252 364
rect -54 302 -1 305
rect -54 273 -51 302
rect -22 279 -1 302
rect -22 273 -19 279
rect -54 270 -19 273
rect -54 213 -19 216
rect -1419 159 -1386 162
rect -1364 144 -750 164
rect -337 189 -147 192
rect -337 163 -334 189
rect -150 163 -147 189
rect -54 184 -51 213
rect -22 184 -1 213
rect -54 181 -1 184
rect -337 160 -147 163
rect -1364 142 -1272 144
rect -1468 128 -1272 142
rect -771 120 -750 144
rect -847 117 -657 120
rect -1526 91 -886 105
rect -847 91 -844 117
rect -660 91 -657 117
rect -263 105 -249 160
rect -628 91 -249 105
rect -125 140 -1 166
rect -1762 83 -1730 86
rect -1762 57 -1759 83
rect -1733 57 -1730 83
rect -900 76 -886 91
rect -628 76 -614 91
rect -1762 54 -1730 57
rect -1599 63 -1567 66
rect -1758 20 -1744 54
rect -1599 37 -1596 63
rect -1570 48 -1567 63
rect -900 62 -614 76
rect -125 69 -108 140
rect -599 55 -108 69
rect -70 88 -1 114
rect -599 48 -585 55
rect -1570 37 -585 48
rect -70 41 -55 88
rect -1599 34 -585 37
rect -548 27 -55 41
rect -548 20 -534 27
rect -1758 6 -534 20
<< end >>
